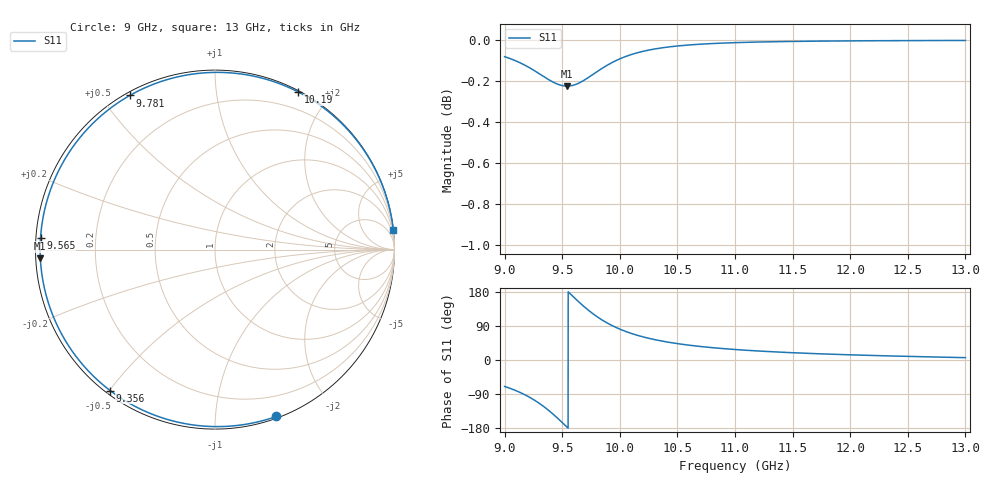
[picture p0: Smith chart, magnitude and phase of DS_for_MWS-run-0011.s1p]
! TOUCHSTONE file generated by CST DESIGN STUDIO
! Date and time: Tue Feb  4 12:36:41 2025
! Project name: C:\Work\MatlabApps\UnitCellOptimizationMatlab\CST\unitcell.cst
! Tree item: Tasks\Sweep1\SPara1\S-Parameters
! Header version: 2024
! Port assignment regex: !\s*Touchstone port\s*([0-9]+)\s*=\s*(CST MWS port|CST DES external port|CST DES block port)\s*(.+)\s* \(\"(.*)\"\)(\s*mode\s*([0-9]+))?.*
! Touchstone port assignment:
! Touchstone port 1 = CST DES external port 1 ("")
# GHz S MA R 50
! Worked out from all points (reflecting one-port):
!   4001 points, 9 GHz to 13 GHz, reference 50 ohm
!   lowest |S11| = -0.2 dB at 9.542 GHz (marker M1), VSWR 76.81, Z = 0.651 - j1.22 ohm
!   phase of S11 starts at -70 deg and turns -284 deg over the sweep
!   S11 on the Smith chart (normalised r, x): 9 GHz: 0.01, -1.43; 9.356 GHz: 0.01, -0.50; 9.565 GHz: 0.01, +0.03; 9.781 GHz: 0.01, +0.59; 10.19 GHz: 0.01, +1.66; 13 GHz: 0, +18
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9  0.9905 -69.8
9.101  0.988 -81.2
9.211  0.9845 -97.4
9.287  0.9816 -111.5
9.356  0.9788 -126.6
9.425  0.9763 -144.0
9.464  0.9752 -154.7
9.5  0.9746 -164.9
9.542  0.9743 -177.2
9.565  0.9744 176.0
9.62  0.9753 160.1
9.68  0.9771 143.5
9.73  0.9791 130.7
9.781  0.9813 118.9
9.828  0.9833 109.1
9.879  0.9853 99.7
9.935  0.9873 90.6
10  0.9893 81.5
10.09  0.9914 71.1
10.187  0.9932 62.2
10.33  0.995 52.1
10.5  0.9964 43.2
10.721  0.9975 35.0
11  0.9983 27.7
11.5  0.9989 19.2
12  0.9993 13.6
12.5  0.9994 9.5
13  0.9995 6.2
